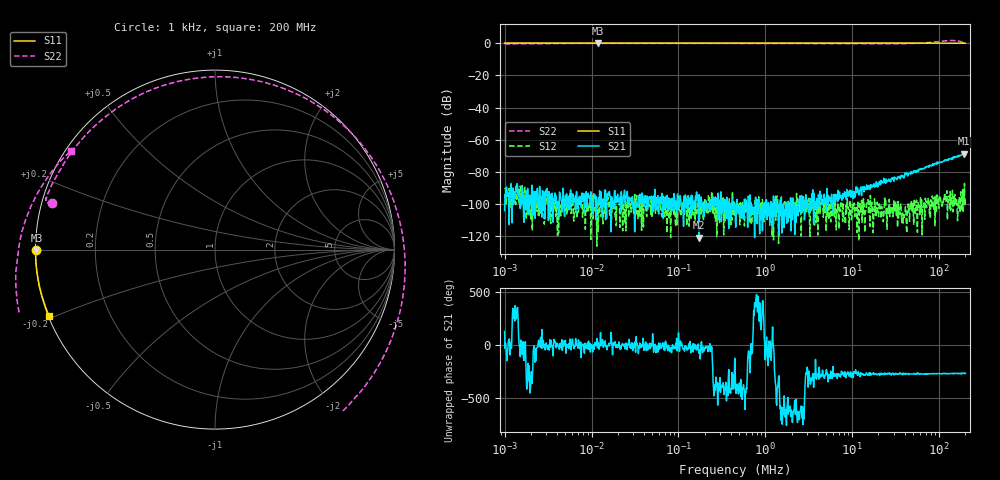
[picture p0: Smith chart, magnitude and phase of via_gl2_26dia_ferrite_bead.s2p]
! ListType=Log
# MHZ S RI R 50
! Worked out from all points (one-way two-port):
!   1000 points, 1 kHz to 200 MHz, reference 50 ohm
!   highest |S21| = -68.68 dB at 192.8 MHz (marker M1); lowest = -120.7 dB at 171.4 kHz (marker M2)
!   lowest |S11| = 0.0 dB at 11.95 kHz (marker M3), VSWR 414.68, Z = 0.121 - j0.0467 ohm
!   |S11| at or under -10 dB: nowhere
!   |S22| runs from -0.5 to 1.7 dB; largest |S21 - S12| = 0.00038
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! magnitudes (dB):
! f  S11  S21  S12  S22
! 1 kHz  0.0  -104.0  -89.9  -0.5
! 7.694 kHz  0.0  -93.7  -101.3  -0.2
! 11.95 kHz  0.0  -98.8  -117.4  -0.1
! 58.48 kHz  0.0  -101.5  -102.4  -0.1
! 171.4 kHz  0.0  -120.7  -103.3  -0.1
! 450 kHz  0.0  -105.6  -102.7  -0.2
! 3.42 MHz  0.0  -93.5  -102.6  -0.2
! 26.31 MHz  0.0  -84.3  -106.0  -0.4
! 46.73 MHz  0.0  -81.4  -100.1  -0.2
! 54.11 MHz  0.0  -80.3  -102.9  -0.1
! 61.89 MHz  0.0  -77.9  -105.1  0.0
! 67.42 MHz  0.0  -77.9  -99.9  0.1
! 73.44 MHz  0.0  -76.5  -99.4  0.3
! 84 MHz  0.0  -74.8  -95.5  0.5
! 94.92 MHz  0.0  -73.7  -95.8  0.8
! 107.3 MHz  0.0  -73.7  -101.3  1.2
! 122.7 MHz  0.0  -72.9  -91.7  1.5
! 140.3 MHz  0.0  -72.2  -94.9  1.6
! 166.5 MHz  0.0  -70.5  -98.2  1.3
! 185.9 MHz  0.0  -69.1  -91.0  0.6
! 192.8 MHz  0.0  -68.7  -97.2  0.2
! 200 MHz  0.0  -69.4  -96.8  -0.2
